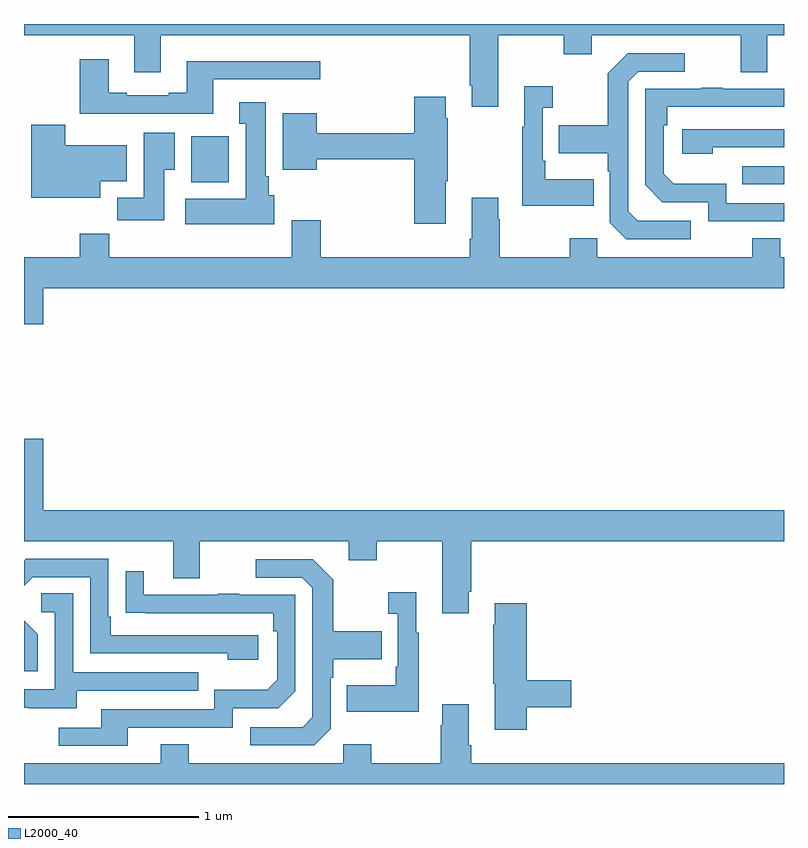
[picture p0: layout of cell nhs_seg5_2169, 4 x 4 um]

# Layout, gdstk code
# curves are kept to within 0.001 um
import gdstk
lib = gdstk.Library(unit=1e-6, precision=1e-09)
def R(c, l, rs):  # rectangles x0, y0, x1, y1
    for r in rs: c.add(gdstk.rectangle(r[:2], r[2:], *l))
def P(c, l, *ps):  # polygons
    for p in ps: c.add(gdstk.Polygon(p, *l))
L2000_40 = (2000, 40)

nhs_seg5_2169 = lib.new_cell('nhs_seg5_2169')
R(nhs_seg5_2169, L2000_40, [(240.781,875.955,241,876.051), (237.881,875.966,238.078,876.208)])
P(nhs_seg5_2169, L2000_40, [(239.497,876.74),(239.842,876.74),(239.842,876.641),(239.989,876.641),(239.989,876.74),(240.773,876.74),(240.773,876.546),(240.913,876.546),(240.913,876.74),(241,876.74),(241,876.799),(237,876.799),(237,876.74),(237.581,876.74),(237.581,876.546),(237.721,876.546),(237.721,876.74),(239.345,876.74),(239.345,876.475),(239.357,876.475),(239.357,876.363),(239.497,876.363)],
  [(240.508,875.763),(240.231,875.763),(240.18,875.814),(240.18,876.495),(240.234,876.549),(240.478,876.549),(240.478,876.645),(240.177,876.645),(240.072,876.539),(240.072,876.267),(239.815,876.267),(239.815,876.119),(240.072,876.119),(240.072,876.023),(240.084,876.023),(240.084,875.754),(240.171,875.667),(240.508,875.667)],
  [(237.537,876.327),(237.997,876.327),(237.997,876.507),(238.558,876.507),(238.558,876.604),(237.857,876.604),(237.857,876.436),(237.761,876.436),(237.761,876.423),(237.541,876.423),(237.541,876.436),(237.445,876.436),(237.445,876.613),(237.293,876.613),(237.293,876.326),(237.537,876.326)],
  [(239.999,875.983),(239.743,875.983),(239.743,876.079),(239.73,876.079),(239.73,876.359),(239.782,876.359),(239.782,876.472),(239.633,876.472),(239.633,876.259),(239.622,876.259),(239.622,875.843),(239.999,875.843)],
  [(241,875.856),(240.696,875.856),(240.696,875.959),(240.419,875.959),(240.366,876.012),(240.366,876.266),(240.386,876.266),(240.386,876.363),(241,876.363),(241,876.459),(240.677,876.459),(240.677,876.464),(240.565,876.464),(240.565,876.459),(240.27,876.459),(240.27,875.952),(240.36,875.862),(240.6,875.862),(240.6,875.76),(241,875.76)],
  [(239.221,875.971),(239.229,875.971),(239.229,876.302),(239.221,876.302),(239.221,876.415),(239.054,876.415),(239.054,876.224),(238.54,876.224),(238.54,876.328),(238.361,876.328),(238.361,876.032),(238.54,876.032),(238.54,876.088),(239.054,876.088),(239.054,875.748),(239.221,875.748)],
  [(238.318,875.898),(238.288,875.898),(238.288,875.998),(238.273,875.998),(238.273,876.388),(238.133,876.388),(238.133,876.275),(238.166,876.275),(238.166,875.878),(237.849,875.878),(237.849,875.744),(238.318,875.744)],
  [(237.4,875.972),(237.541,875.972),(237.541,876.16),(237.216,876.16),(237.216,876.268),(237.038,876.268),(237.038,875.885),(237.4,875.885)],
  [(240.626,876.15),(241,876.15),(241,876.246),(240.465,876.246),(240.465,876.116),(240.626,876.116)],
  [(237.739,876.032),(237.793,876.032),(237.793,876.226),(237.629,876.226),(237.629,875.884),(237.49,875.884),(237.49,875.766),(237.739,875.766)],
  [(241,875.572),(240.979,875.572),(240.979,875.671),(240.832,875.671),(240.832,875.572),(240.018,875.572),(240.018,875.671),(239.872,875.671),(239.872,875.572),(239.505,875.572),(239.505,875.771),(239.497,875.771),(239.497,875.884),(239.357,875.884),(239.357,875.668),(239.345,875.668),(239.345,875.572),(238.562,875.572),(238.562,875.767),(238.409,875.767),(238.409,875.572),(237.449,875.572),(237.449,875.696),(237.293,875.696),(237.293,875.572),(237,875.572),(237,875.22),(237.1,875.22),(237.1,875.408),(241,875.408)],
  [(239.341,873.811),(239.354,873.811),(239.354,874.076),(241,874.076),(241,874.24),(237.1,874.24),(237.1,874.615),(237,874.615),(237,874.076),(237.785,874.076),(237.785,873.882),(237.925,873.882),(237.925,874.076),(238.709,874.076),(238.709,873.977),(238.857,873.977),(238.857,874.076),(239.201,874.076),(239.201,873.699),(239.341,873.699)],
  [(238.234,873.582),(237.457,873.582),(237.457,873.679),(237.444,873.679),(237.444,873.984),(237.009,873.984),(237,873.975),(237,873.843),(237.045,873.888),(237.348,873.888),(237.348,873.486),(238.073,873.486),(238.073,873.452),(238.234,873.452)],
  [(238.614,873.09),(238.614,873.359),(238.627,873.359),(238.627,873.455),(238.883,873.455),(238.883,873.603),(238.627,873.603),(238.627,873.875),(238.521,873.981),(238.221,873.981),(238.221,873.885),(238.464,873.885),(238.518,873.831),(238.518,873.15),(238.467,873.099),(238.191,873.099),(238.191,873.003),(238.527,873.003)],
  [(237.547,873.096),(238.098,873.096),(238.098,873.198),(238.338,873.198),(238.428,873.288),(238.428,873.795),(238.133,873.795),(238.133,873.8),(238.021,873.8),(238.021,873.795),(237.631,873.795),(237.631,873.919),(237.535,873.919),(237.535,873.7),(238.312,873.699),(238.312,873.602),(238.332,873.602),(238.332,873.348),(238.279,873.295),(238.002,873.295),(238.002,873.192),(237.407,873.192),(237.407,873.096),(237.183,873.096),(237.183,873),(237.547,873)],
  [(239.077,873.595),(239.065,873.595),(239.065,873.808),(238.917,873.808),(238.917,873.695),(238.968,873.695),(238.968,873.415),(238.956,873.415),(238.956,873.319),(238.699,873.319),(238.699,873.179),(239.077,873.179)],
  [(237.277,873.291),(237.917,873.291),(237.917,873.387),(237.258,873.387),(237.258,873.803),(237.09,873.803),(237.09,873.702),(237.162,873.702),(237.162,873.297),(237,873.297),(237,873.201),(237.023,873.201),(237.023,873.197),(237.277,873.197)],
  [(239.645,873.202),(239.881,873.202),(239.881,873.344),(239.645,873.344),(239.645,873.751),(239.477,873.751),(239.477,873.638),(239.47,873.638),(239.47,873.327),(239.477,873.327),(239.477,873.084),(239.645,873.084)],
  [(237.072,873.586),(237,873.658),(237,873.393),(237.072,873.393)],
  [(241,872.908),(239.354,872.908),(239.354,873.004),(239.341,873.004),(239.341,873.22),(239.201,873.22),(239.201,873.107),(239.194,873.107),(239.194,872.908),(238.827,872.908),(238.827,873.007),(238.68,873.007),(238.68,872.908),(237.867,872.908),(237.867,873.007),(237.719,873.007),(237.719,872.908),(237,872.908),(237,872.799),(241,872.799)])

lib.write_gds('nhs_seg5_2169.gds')
